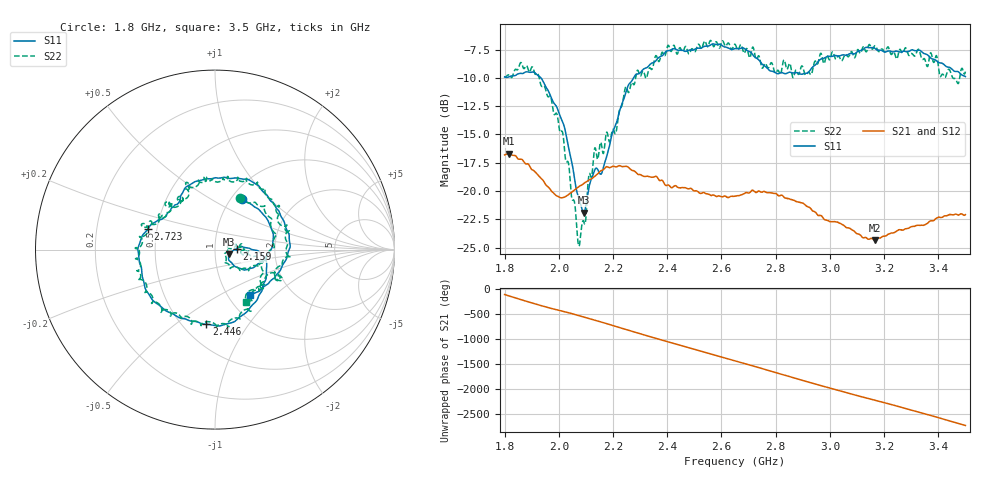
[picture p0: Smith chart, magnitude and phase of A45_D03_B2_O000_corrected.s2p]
! Created with skrf 1.9.0 (http://scikit-rf.org).
# Hz S RI R 50.0
!freq ReS11 ImS11 ReS21 ImS21 ReS12 ImS12 ReS22 ImS22
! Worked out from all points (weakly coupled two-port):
!   1601 points, 1.8 GHz to 3.5 GHz, reference 50 ohm
!   highest |S21| = -16.70 dB at 1.816 GHz (marker M1); lowest = -24.3 dB at 3.165 GHz (marker M2)
!   lowest |S11| = -21.9 dB at 2.092 GHz (marker M3), VSWR 1.17, Z = 58.2 - j2.88 ohm
!   |S11| at or under -10 dB: 1.935 GHz to 2.275 GHz (340.7 MHz wide, 16.2 % of centre)
!   |S22| runs from -24.9 to -6.7 dB; largest |S21 - S12| = 0.0025
!   S11 on the Smith chart (normalised r, x): 1.8 GHz: 1.12, +0.71; 2.159 GHz: 1.27, +0.01; 2.446 GHz: 0.65, -0.66; 2.723 GHz: 0.45, +0.12; 3.5 GHz: 1.26, -0.71
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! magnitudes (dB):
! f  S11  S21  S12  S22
! 1.8 GHz  -9.9  -16.8  -16.8  -9.9
! 1.816 GHz  -9.9  -16.7  -16.7  -9.7
! 1.903 GHz  -9.5  -18.1  -18.1  -9.0
! 1.968 GHz  -11.5  -19.8  -19.9  -11.6
! 2.015 GHz  -13.9  -20.6  -20.6  -14.9
! 2.072 GHz  -20.5  -19.7  -19.7  -24.8
! 2.084 GHz  -21.5  -19.5  -19.4  -23.2
! 2.092 GHz  -21.9  -19.3  -19.4  -22.7
! 2.13 GHz  -18.3  -18.7  -18.7  -16.5
! 2.159 GHz  -18.4  -18.2  -18.1  -16.1
! 2.209 GHz  -14.2  -17.9  -17.8  -14.9
! 2.257 GHz  -10.6  -17.9  -17.9  -11.3
! 2.367 GHz  -8.2  -18.9  -18.9  -8.5
! 2.446 GHz  -7.6  -19.7  -19.7  -7.3
! 2.65 GHz  -7.4  -20.5  -20.4  -7.0
! 2.723 GHz  -8.2  -20.1  -20.0  -7.9
! 2.805 GHz  -9.6  -20.3  -20.3  -9.4
! 2.934 GHz  -9.1  -21.7  -21.7  -9.6
! 3.165 GHz  -7.4  -24.3  -24.3  -7.2
! 3.217 GHz  -7.6  -23.8  -23.8  -7.4
! 3.469 GHz  -9.4  -22.1  -22.1  -10.4
! 3.5 GHz  -9.9  -22.1  -22.1  -9.4
